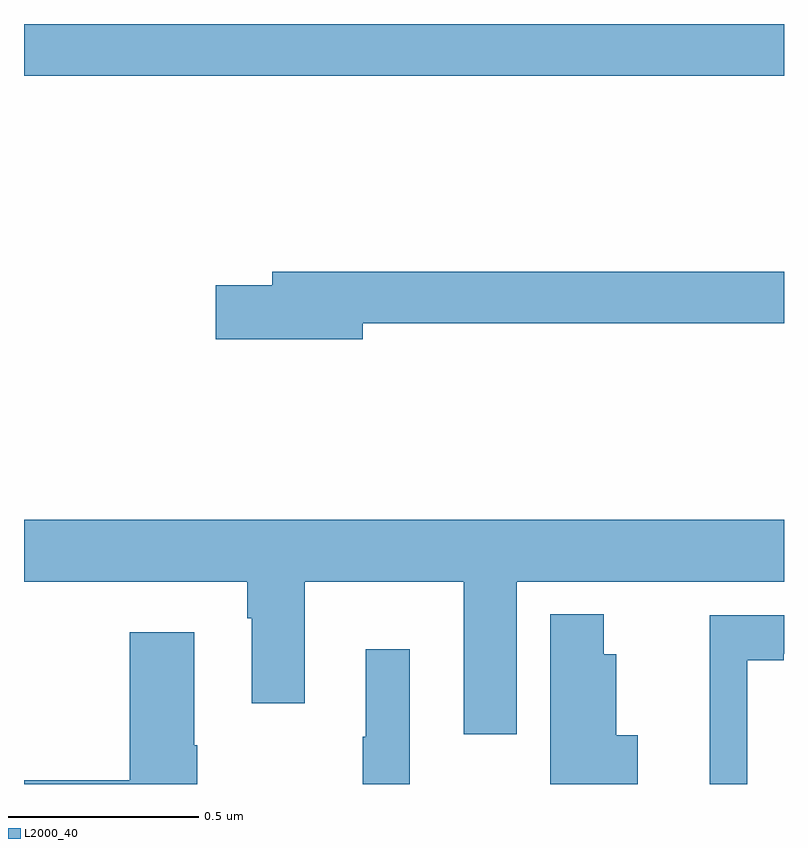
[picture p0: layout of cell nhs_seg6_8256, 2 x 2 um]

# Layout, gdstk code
import gdstk
lib = gdstk.Library(unit=1e-6, precision=1e-09)
def R(c, l, rs):  # rectangles x0, y0, x1, y1
    for r in rs: c.add(gdstk.rectangle(r[:2], r[2:], *l))
def P(c, l, *ps):  # polygons
    for p in ps: c.add(gdstk.Polygon(p, *l))
L2000_40 = (2000, 40)

nhs_seg6_8256 = lib.new_cell('nhs_seg6_8256')
R(nhs_seg6_8256, L2000_40, [(219,919.364,221,919.5)])
P(nhs_seg6_8256, L2000_40, [(219.892,918.712),(221,918.712),(221,918.848),(219.653,918.848),(219.653,918.812),(219.504,918.812),(219.504,918.67),(219.892,918.67)],
  [(220.297,918.032),(221,918.032),(221,918.196),(219,918.196),(219,918.032),(219.587,918.032),(219.587,917.936),(219.599,917.936),(219.599,917.712),(219.739,917.712),(219.739,918.032),(220.157,918.032),(220.157,917.631),(220.297,917.631)],
  [(220.615,917.628),(220.558,917.628),(220.558,917.842),(220.525,917.842),(220.525,917.947),(220.385,917.947),(220.385,917.5),(220.615,917.5)],
  [(220.903,917.826),(220.999,917.826),(220.999,917.843),(221,917.843),(221,917.944),(220.804,917.944),(220.804,917.5),(220.903,917.5)],
  [(219.456,917.602),(219.448,917.602),(219.448,917.899),(219.278,917.899),(219.278,917.51),(219,917.51),(219,917.5),(219.456,917.5)],
  [(220.015,917.854),(219.899,917.854),(219.899,917.624),(219.892,917.624),(219.892,917.5),(220.015,917.5)])

lib.write_gds('nhs_seg6_8256.gds')
